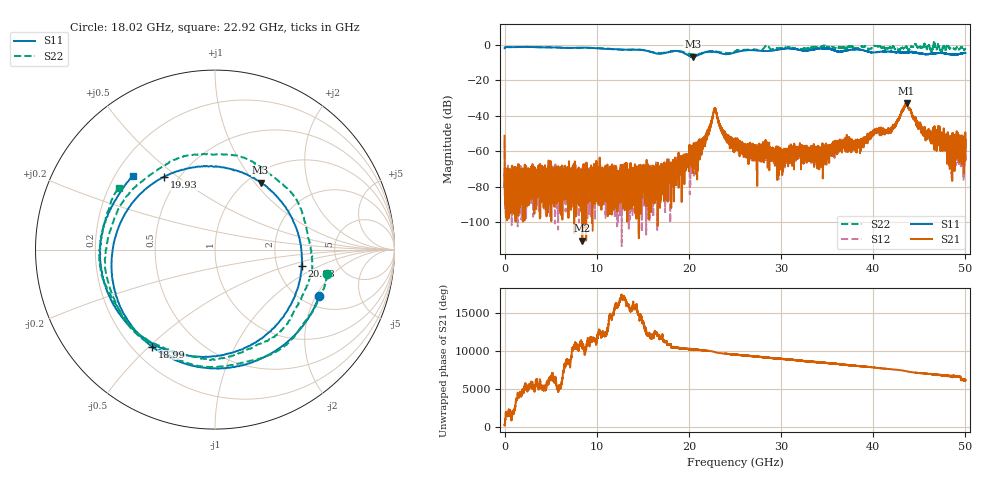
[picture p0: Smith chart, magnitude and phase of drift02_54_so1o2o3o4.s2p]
!Created with skrf (http://scikit-rf.org).
# Hz S RI R 50.0
!freq ReS11 ImS11 ReS21 ImS21 ReS12 ImS12 ReS22 ImS22
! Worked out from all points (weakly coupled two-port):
!   10001 points, 300 kHz to 50 GHz, reference 50 ohm
!   highest |S21| = -32.96 dB at 43.62 GHz (marker M1); lowest = -110.5 dB at 8.425 GHz (marker M2)
!   lowest |S11| = -6.9 dB at 20.43 GHz (marker M3), VSWR 2.65, Z = 57.2 + j53.6 ohm
!   |S11| at or under -10 dB: nowhere
!   |S22| runs from -5.7 to 2.3 dB; largest |S21 - S12| = 0.0041
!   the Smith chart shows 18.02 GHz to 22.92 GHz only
!   S11 on the Smith chart (normalised r, x): 18.02 GHz: 2.44, -2.13; 18.99 GHz: 0.28, -0.51; 19.93 GHz: 0.42, +0.45; 20.93 GHz: 2.76, -0.65; 22.92 GHz: 0.27, +0.36
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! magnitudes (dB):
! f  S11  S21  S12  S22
! 300 kHz  -2.1  -51.4  -54.5  -2.1
! 265.3 MHz  -1.4  -76.6  -75.6  -1.4
! 8.335 GHz  -1.7  -71.5  -94.4  -1.9
! 8.425 GHz  -1.7  -110.5  -74.6  -1.9
! 16.67 GHz  -5.2  -72.5  -80.4  -4.7
! 18.02 GHz  -3.9  -69.4  -70.9  -3.9
! 18.99 GHz  -3.8  -66.6  -70.2  -3.9
! 19.93 GHz  -6.1  -63.9  -65.8  -5.2
! 20.43 GHz  -6.9  -66.3  -62.5  -5.4
! 20.93 GHz  -6.2  -58.7  -57.7  -5.6
! 22.92 GHz  -4.2  -37.2  -37.0  -3.9
! 23.79 GHz  -5.3  -49.9  -49.5  -4.6
! 25 GHz  -4.5  -55.3  -58.5  -3.9
! 29.92 GHz  -2.7  -64.4  -62.2  -2.0
! 33.34 GHz  -3.0  -61.2  -60.1  -1.6
! 38.1 GHz  -2.7  -53.5  -58.0  -2.3
! 40.36 GHz  -4.3  -48.7  -47.9  -0.9
! 41.67 GHz  -4.0  -48.3  -47.4  -1.9
! 43.62 GHz  -4.3  -33.0  -33.5  -1.5
! 45.6 GHz  -5.4  -48.8  -48.6  0.3
! 48.35 GHz  -5.5  -55.5  -61.6  -2.1
! 50 GHz  -4.8  -57.7  -60.4  -2.7
